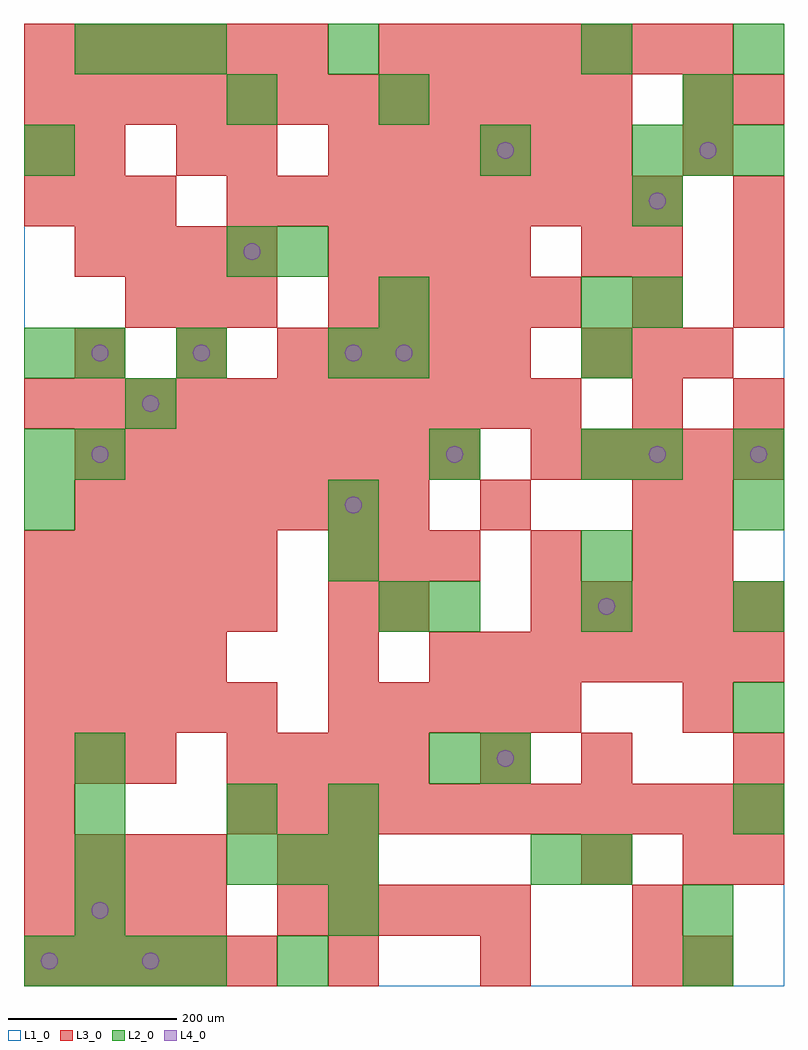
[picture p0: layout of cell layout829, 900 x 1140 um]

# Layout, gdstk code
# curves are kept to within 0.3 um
import gdstk
lib = gdstk.Library(unit=1e-6, precision=1e-09)
def R(c, l, rs):  # rectangles x0, y0, x1, y1
    for r in rs: c.add(gdstk.rectangle(r[:2], r[2:], *l))
def A(c, l, x, y, w, h, nx, ny, dx, dy):  # array of equal rectangles
    R(c, l, [(x+i*dx, y+j*dy, x+i*dx+w, y+j*dy+h) for i in range(nx) for j in range(ny)])
def P(c, l, *ps):  # polygons
    for p in ps: c.add(gdstk.Polygon(p, *l))
L1_0 = (1, 0)
L2_0 = (2, 0)
L3_0 = (3, 0)
L4_0 = (4, 0)

layout829 = lib.new_cell('layout829')
R(layout829, L1_0, [(0,0,900,1140)])
A(layout829, L2_0, 0, 0, 60, 60, 4, 1, 60, 0)
A(layout829, L2_0, 60, 60, 60, 60, 1, 4, 0, 60)
A(layout829, L2_0, 240, 120, 60, 60, 3, 1, 60, 0)
A(layout829, L2_0, 480, 420, 60, 60, 3, 1, 180, 0)
A(layout829, L2_0, 660, 480, 60, 60, 1, 3, 0, 120)
A(layout829, L2_0, 720, 960, 60, 60, 3, 1, 60, 0)
A(layout829, L2_0, 60, 1080, 60, 60, 3, 1, 60, 0)
R(layout829, L2_0, [(300,0,360,60), (780,0,840,60), (360,60,420,120), (780,60,840,120), (600,120,660,180), (660,120,720,180), (240,180,300,240), (360,180,420,240), (840,180,900,240), (480,240,540,300), (540,240,600,300), (840,300,900,360), (420,420,480,480), (360,480,420,540), (0,540,60,600), (360,540,420,600), (840,540,900,600), (0,600,60,660), (60,600,120,660), (480,600,540,660), (720,600,780,660), (840,600,900,660), (120,660,180,720), (0,720,60,780), (60,720,120,780), (180,720,240,780), (360,720,420,780), (420,720,480,780), (420,780,480,840), (660,780,720,840), (720,780,780,840), (240,840,300,900), (300,840,360,900), (720,900,780,960), (0,960,60,1020), (540,960,600,1020), (240,1020,300,1080), (420,1020,480,1080), (780,1020,840,1080), (360,1080,420,1140), (660,1080,720,1140), (840,1080,900,1140)])
A(layout829, L3_0, 0, 0, 60, 60, 5, 2, 60, 300)
A(layout829, L3_0, 360, 0, 60, 60, 3, 1, 180, 0)
A(layout829, L3_0, 0, 60, 60, 60, 4, 2, 60, 60)
A(layout829, L3_0, 300, 60, 60, 60, 5, 1, 60, 0)
A(layout829, L3_0, 780, 120, 60, 60, 1, 3, 0, 180)
A(layout829, L3_0, 240, 180, 60, 60, 11, 1, 60, 0)
A(layout829, L3_0, 0, 240, 60, 60, 3, 2, 60, 660)
A(layout829, L3_0, 240, 240, 60, 60, 4, 1, 60, 0)
A(layout829, L3_0, 360, 300, 60, 60, 5, 2, 60, 480)
A(layout829, L3_0, 0, 360, 60, 60, 4, 1, 60, 0)
A(layout829, L3_0, 480, 360, 60, 60, 7, 1, 60, 0)
A(layout829, L3_0, 0, 420, 60, 60, 5, 2, 60, 60)
A(layout829, L3_0, 600, 420, 60, 60, 5, 2, 60, 180)
A(layout829, L3_0, 360, 480, 60, 60, 3, 1, 60, 0)
A(layout829, L3_0, 60, 540, 60, 60, 7, 1, 60, 0)
A(layout829, L3_0, 720, 540, 60, 60, 1, 3, 0, 120)
A(layout829, L3_0, 60, 600, 60, 60, 8, 1, 60, 0)
A(layout829, L3_0, 0, 660, 60, 60, 11, 1, 60, 0)
A(layout829, L3_0, 60, 720, 60, 60, 3, 1, 120, 0)
A(layout829, L3_0, 360, 720, 60, 60, 4, 2, 60, 120)
A(layout829, L3_0, 660, 720, 60, 60, 3, 1, 60, 0)
A(layout829, L3_0, 120, 780, 60, 60, 3, 1, 60, 0)
A(layout829, L3_0, 840, 780, 60, 60, 1, 3, 0, 60)
A(layout829, L3_0, 60, 840, 60, 60, 4, 1, 60, 0)
A(layout829, L3_0, 240, 900, 60, 60, 9, 1, 60, 0)
A(layout829, L3_0, 360, 960, 60, 60, 6, 1, 60, 0)
A(layout829, L3_0, 0, 1020, 60, 60, 12, 1, 60, 0)
A(layout829, L3_0, 0, 1080, 60, 60, 6, 1, 60, 0)
A(layout829, L3_0, 420, 1080, 60, 60, 7, 1, 60, 0)
R(layout829, L3_0, [(780,0,840,60), (720,60,780,120), (300,120,360,180), (360,120,420,180), (660,120,720,180), (840,120,900,180), (0,180,60,240), (540,240,600,300), (660,240,720,300), (840,240,900,300), (360,360,420,420), (360,420,420,480), (420,420,480,480), (600,480,660,540), (720,480,780,540), (540,540,600,600), (780,540,840,600), (840,660,900,720), (660,840,720,900), (720,840,780,900), (0,960,60,1020), (60,960,120,1020), (180,960,240,1020), (240,960,300,1020), (780,960,840,1020), (780,1020,840,1080), (840,1020,900,1080)])
P(layout829, L4_0, [(40,30),(39.239,33.827),(37.071,37.071),(33.827,39.239),(30,40),(26.173,39.239),(22.929,37.071),(20.761,33.827),(20,30),(20.761,26.173),(22.929,22.929),(26.173,20.761),(30,20),(33.827,20.761),(37.071,22.929),(39.239,26.173)],
  [(100,90),(99.239,93.827),(97.071,97.071),(93.827,99.239),(90,100),(86.173,99.239),(82.929,97.071),(80.761,93.827),(80,90),(80.761,86.173),(82.929,82.929),(86.173,80.761),(90,80),(93.827,80.761),(97.071,82.929),(99.239,86.173)],
  [(100,630),(99.239,633.827),(97.071,637.071),(93.827,639.239),(90,640),(86.173,639.239),(82.929,637.071),(80.761,633.827),(80,630),(80.761,626.173),(82.929,622.929),(86.173,620.761),(90,620),(93.827,620.761),(97.071,622.929),(99.239,626.173)],
  [(100,750),(99.239,753.827),(97.071,757.071),(93.827,759.239),(90,760),(86.173,759.239),(82.929,757.071),(80.761,753.827),(80,750),(80.761,746.173),(82.929,742.929),(86.173,740.761),(90,740),(93.827,740.761),(97.071,742.929),(99.239,746.173)],
  [(160,30),(159.239,33.827),(157.071,37.071),(153.827,39.239),(150,40),(146.173,39.239),(142.929,37.071),(140.761,33.827),(140,30),(140.761,26.173),(142.929,22.929),(146.173,20.761),(150,20),(153.827,20.761),(157.071,22.929),(159.239,26.173)],
  [(160,690),(159.239,693.827),(157.071,697.071),(153.827,699.239),(150,700),(146.173,699.239),(142.929,697.071),(140.761,693.827),(140,690),(140.761,686.173),(142.929,682.929),(146.173,680.761),(150,680),(153.827,680.761),(157.071,682.929),(159.239,686.173)],
  [(220,750),(219.239,753.827),(217.071,757.071),(213.827,759.239),(210,760),(206.173,759.239),(202.929,757.071),(200.761,753.827),(200,750),(200.761,746.173),(202.929,742.929),(206.173,740.761),(210,740),(213.827,740.761),(217.071,742.929),(219.239,746.173)],
  [(280,870),(279.239,873.827),(277.071,877.071),(273.827,879.239),(270,880),(266.173,879.239),(262.929,877.071),(260.761,873.827),(260,870),(260.761,866.173),(262.929,862.929),(266.173,860.761),(270,860),(273.827,860.761),(277.071,862.929),(279.239,866.173)],
  [(400,570),(399.239,573.827),(397.071,577.071),(393.827,579.239),(390,580),(386.173,579.239),(382.929,577.071),(380.761,573.827),(380,570),(380.761,566.173),(382.929,562.929),(386.173,560.761),(390,560),(393.827,560.761),(397.071,562.929),(399.239,566.173)],
  [(400,750),(399.239,753.827),(397.071,757.071),(393.827,759.239),(390,760),(386.173,759.239),(382.929,757.071),(380.761,753.827),(380,750),(380.761,746.173),(382.929,742.929),(386.173,740.761),(390,740),(393.827,740.761),(397.071,742.929),(399.239,746.173)],
  [(460,750),(459.239,753.827),(457.071,757.071),(453.827,759.239),(450,760),(446.173,759.239),(442.929,757.071),(440.761,753.827),(440,750),(440.761,746.173),(442.929,742.929),(446.173,740.761),(450,740),(453.827,740.761),(457.071,742.929),(459.239,746.173)],
  [(520,630),(519.239,633.827),(517.071,637.071),(513.827,639.239),(510,640),(506.173,639.239),(502.929,637.071),(500.761,633.827),(500,630),(500.761,626.173),(502.929,622.929),(506.173,620.761),(510,620),(513.827,620.761),(517.071,622.929),(519.239,626.173)],
  [(580,270),(579.239,273.827),(577.071,277.071),(573.827,279.239),(570,280),(566.173,279.239),(562.929,277.071),(560.761,273.827),(560,270),(560.761,266.173),(562.929,262.929),(566.173,260.761),(570,260),(573.827,260.761),(577.071,262.929),(579.239,266.173)],
  [(580,990),(579.239,993.827),(577.071,997.071),(573.827,999.239),(570,1000),(566.173,999.239),(562.929,997.071),(560.761,993.827),(560,990),(560.761,986.173),(562.929,982.929),(566.173,980.761),(570,980),(573.827,980.761),(577.071,982.929),(579.239,986.173)],
  [(700,450),(699.239,453.827),(697.071,457.071),(693.827,459.239),(690,460),(686.173,459.239),(682.929,457.071),(680.761,453.827),(680,450),(680.761,446.173),(682.929,442.929),(686.173,440.761),(690,440),(693.827,440.761),(697.071,442.929),(699.239,446.173)],
  [(760,630),(759.239,633.827),(757.071,637.071),(753.827,639.239),(750,640),(746.173,639.239),(742.929,637.071),(740.761,633.827),(740,630),(740.761,626.173),(742.929,622.929),(746.173,620.761),(750,620),(753.827,620.761),(757.071,622.929),(759.239,626.173)],
  [(760,930),(759.239,933.827),(757.071,937.071),(753.827,939.239),(750,940),(746.173,939.239),(742.929,937.071),(740.761,933.827),(740,930),(740.761,926.173),(742.929,922.929),(746.173,920.761),(750,920),(753.827,920.761),(757.071,922.929),(759.239,926.173)],
  [(820,990),(819.239,993.827),(817.071,997.071),(813.827,999.239),(810,1000),(806.173,999.239),(802.929,997.071),(800.761,993.827),(800,990),(800.761,986.173),(802.929,982.929),(806.173,980.761),(810,980),(813.827,980.761),(817.071,982.929),(819.239,986.173)],
  [(880,630),(879.239,633.827),(877.071,637.071),(873.827,639.239),(870,640),(866.173,639.239),(862.929,637.071),(860.761,633.827),(860,630),(860.761,626.173),(862.929,622.929),(866.173,620.761),(870,620),(873.827,620.761),(877.071,622.929),(879.239,626.173)])

lib.write_gds('layout829.gds')
